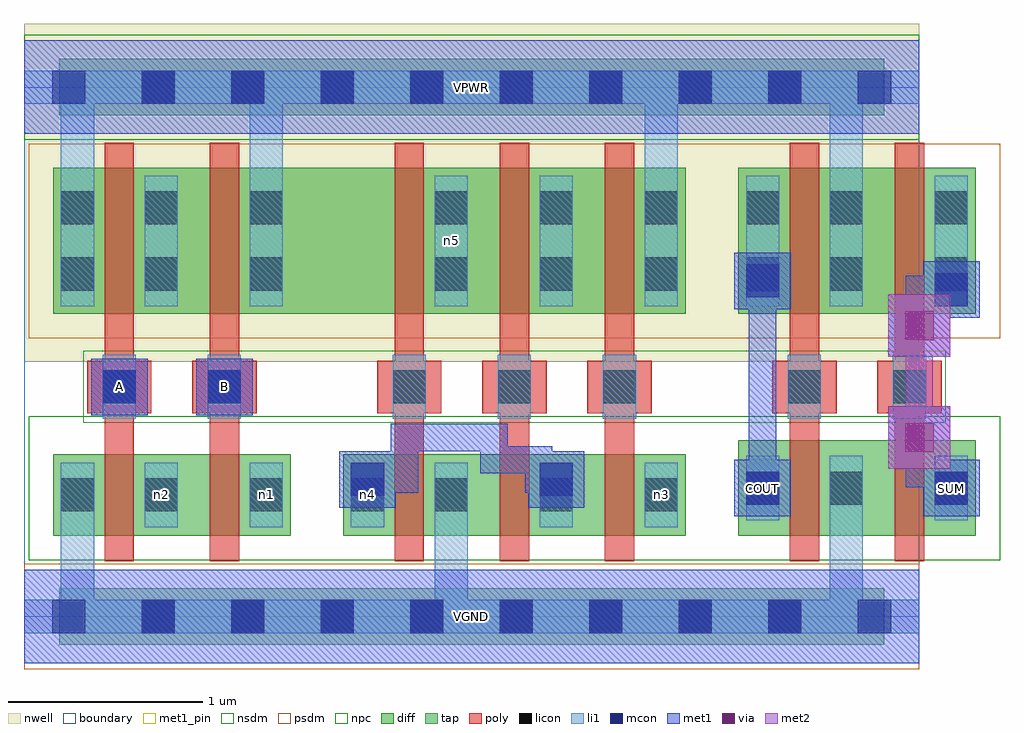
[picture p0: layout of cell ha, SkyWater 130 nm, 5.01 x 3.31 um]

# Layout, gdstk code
import gdstk
lib = gdstk.Library(unit=1e-6, precision=1e-09)
def R(c, l, rs):  # rectangles x0, y0, x1, y1
    for r in rs: c.add(gdstk.rectangle(r[:2], r[2:], *l))
def A(c, l, x, y, w, h, nx, ny, dx, dy):  # array of equal rectangles
    R(c, l, [(x+i*dx, y+j*dy, x+i*dx+w, y+j*dy+h) for i in range(nx) for j in range(ny)])
nwell = (64, 20)
diff = (65, 20)
tap = (65, 44)
poly = (66, 20)
licon = (66, 44)
li1 = (67, 20)
mcon = (67, 44)
met1_pin = (68, 16)
met1 = (68, 20)
via = (68, 44)
met2 = (69, 20)
nsdm = (93, 44)
psdm = (94, 20)
npc = (95, 20)
boundary = (235, 4)

c_ha = lib.new_cell('ha')
R(c_ha, nwell, [(0,1.31,4.6,3.045)])
R(c_ha, diff, [(0.15,0.415,1.37,0.835), (1.64,0.415,3.4,0.835), (3.67,0.415,4.89,0.905), (0.15,1.555,3.4,2.305), (3.67,1.555,4.89,2.305)])
R(c_ha, tap, [(0.18,-0.145,4.42,0.145), (0.18,2.575,4.42,2.865)])
A(c_ha, poly, 1.905, 0.285, 0.15, 2.15, 3, 1, 0.54, 0)
A(c_ha, poly, 1.815, 1.045, 0.33, 0.27, 3, 1, 0.54, 0)
R(c_ha, poly, [(0.415,0.285,0.565,2.435), (0.955,0.285,1.105,2.435), (3.935,0.285,4.085,2.435), (4.475,0.285,4.625,2.435), (0.325,1.045,0.655,1.315), (0.865,1.045,1.195,1.315), (3.845,1.045,4.175,1.315), (4.385,1.045,4.715,1.315)])
A(c_ha, licon, 0.605, -0.085, 0.17, 0.17, 8, 2, 0.46, 2.72)
A(c_ha, licon, 2.11, 0.54, 0.17, 0.17, 3, 2, 0.54, 1.135)
A(c_ha, licon, 1.895, 1.095, 0.17, 0.17, 3, 1, 0.54, 0)
A(c_ha, licon, 2.11, 2.015, 0.17, 0.17, 3, 1, 0.54, 0)
R(c_ha, licon, [(0.19,0.54,0.36,0.71), (0.62,0.54,0.79,0.71), (1.16,0.54,1.33,0.71), (1.68,0.54,1.85,0.71), (3.71,0.575,3.88,0.745), (4.14,0.575,4.31,0.745), (4.68,0.575,4.85,0.745), (0.405,1.095,0.575,1.265), (0.945,1.095,1.115,1.265), (3.925,1.095,4.095,1.265), (4.465,1.095,4.635,1.265), (0.19,1.675,0.36,1.845), (0.62,1.675,0.79,1.845), (1.16,1.675,1.33,1.845), (3.71,1.675,3.88,1.845), (4.14,1.675,4.31,1.845), (4.68,1.675,4.85,1.845), (0.19,2.015,0.36,2.185), (0.62,2.015,0.79,2.185), (1.16,2.015,1.33,2.185), (3.71,2.015,3.88,2.185), (4.14,2.015,4.31,2.185), (4.68,2.015,4.85,2.185)])
A(c_ha, li1, 2.11, 0.46, 0.17, 0.33, 3, 1, 0.54, 0)
A(c_ha, li1, 1.895, 1.015, 0.17, 0.33, 3, 1, 0.54, 0)
A(c_ha, li1, 2.11, 1.595, 0.17, 0.67, 3, 1, 0.54, 0)
R(c_ha, li1, [(0,-0.085,4.6,0.085), (0.19,-0.085,0.36,0.79), (2.11,-0.085,2.28,0.79), (4.14,-0.085,4.31,0.825), (0.19,0.46,0.36,0.79), (0.62,0.46,0.79,0.79), (1.16,0.46,1.33,0.79), (1.68,0.46,1.85,0.79), (3.71,0.495,3.88,0.825), (4.14,0.495,4.31,0.825), (4.68,0.495,4.85,0.825), (0.405,1.015,0.575,1.345), (0.945,1.015,1.115,1.345), (3.925,1.015,4.095,1.345), (4.465,1.015,4.635,1.345), (0.19,1.595,0.36,2.265), (0.19,1.595,0.36,2.805), (0.62,1.595,0.79,2.265), (1.16,1.595,1.33,2.265), (1.16,1.595,1.33,2.805), (3.19,1.595,3.36,2.805), (3.71,1.595,3.88,2.265), (4.14,1.595,4.31,2.265), (4.14,1.595,4.31,2.805), (4.68,1.595,4.85,2.265), (0,2.635,4.6,2.805)])
A(c_ha, mcon, 0.145, -0.085, 0.17, 0.17, 10, 2, 0.46, 2.72)
R(c_ha, mcon, [(3.71,0.575,3.88,0.745), (4.68,0.575,4.85,0.745), (1.68,0.62,1.85,0.79), (2.65,0.62,2.82,0.79), (0.405,1.095,0.575,1.265), (0.945,1.095,1.115,1.265), (4.68,1.595,4.85,1.765), (3.71,1.64,3.88,1.81)])
R(c_ha, met1_pin, [(0,-0.24,4.6,0.24), (3.65,0.515,3.94,0.805), (4.62,0.515,4.91,0.805), (0.345,1.035,0.635,1.325), (0.885,1.035,1.175,1.325), (0,2.48,4.6,2.96)])
R(c_ha, met1, [(0,-0.24,4.6,0.24), (3.65,0.515,3.94,0.805), (4.62,0.515,4.91,0.805), (1.62,0.56,1.91,0.85), (2.59,0.56,2.88,0.85), (3.725,0.62,3.865,0.76), (3.725,0.62,3.865,1.795), (1.695,0.635,2.025,0.775), (1.885,0.635,2.025,0.875), (2.575,0.635,2.805,0.775), (2.575,0.635,2.715,0.875), (4.53,0.665,4.76,0.805), (4.53,0.665,4.67,0.99), (4.62,0.665,4.76,0.805), (1.885,0.735,2.025,0.99), (2.345,0.735,2.715,0.875), (2.345,0.735,2.485,0.99), (4.44,0.76,4.76,1.08), (1.885,0.85,2.485,0.99), (0.345,1.035,0.635,1.325), (0.885,1.035,1.175,1.325), (4.44,1.335,4.76,1.655), (4.53,1.425,4.67,1.75), (4.62,1.535,4.91,1.825), (3.65,1.58,3.94,1.87), (4.53,1.61,4.835,1.75), (0,2.48,4.6,2.96)])
R(c_ha, via, [(4.525,0.845,4.675,0.995), (4.525,1.42,4.675,1.57)])
R(c_ha, met2, [(4.44,0.76,4.76,1.08), (4.53,0.85,4.67,1.565), (4.44,1.335,4.76,1.655)])
R(c_ha, nsdm, [(0.025,0.29,5.015,1.03), (0,2.45,4.6,2.99)])
R(c_ha, psdm, [(0,-0.27,4.6,0.27), (0.025,1.43,5.015,2.43)])
R(c_ha, npc, [(0.305,0.995,4.735,1.365)])
R(c_ha, boundary, [(0,0,4.6,2.72)])
c_ha.add(gdstk.Label('n2', (0.705,0.625), layer=67, texttype=5))
c_ha.add(gdstk.Label('n1', (1.245,0.625), layer=67, texttype=5))
c_ha.add(gdstk.Label('n4', (1.765,0.625), layer=67, texttype=5))
c_ha.add(gdstk.Label('n3', (3.275,0.625), layer=67, texttype=5))
c_ha.add(gdstk.Label('n5', (2.195,1.93), layer=67, texttype=5))
c_ha.add(gdstk.Label('A', (0.49,1.18), layer=68, texttype=5))
c_ha.add(gdstk.Label('B', (1.03,1.18), layer=68, texttype=5))
c_ha.add(gdstk.Label('COUT', (3.795,0.66), layer=68, texttype=5))
c_ha.add(gdstk.Label('SUM', (4.765,0.66), layer=68, texttype=5))
c_ha.add(gdstk.Label('VPWR', (2.3,2.72), layer=68, texttype=5))
c_ha.add(gdstk.Label('VGND', (2.3,0), layer=68, texttype=5))
c_ha.add(gdstk.Label('A', (0.49,1.18), layer=68, texttype=16))
c_ha.add(gdstk.Label('B', (1.03,1.18), layer=68, texttype=16))
c_ha.add(gdstk.Label('COUT', (3.795,0.66), layer=68, texttype=16))
c_ha.add(gdstk.Label('SUM', (4.765,0.66), layer=68, texttype=16))
c_ha.add(gdstk.Label('VPWR', (2.3,2.72), layer=68, texttype=16))
c_ha.add(gdstk.Label('VGND', (2.3,0), layer=68, texttype=16))

lib.write_gds('ha.gds')
